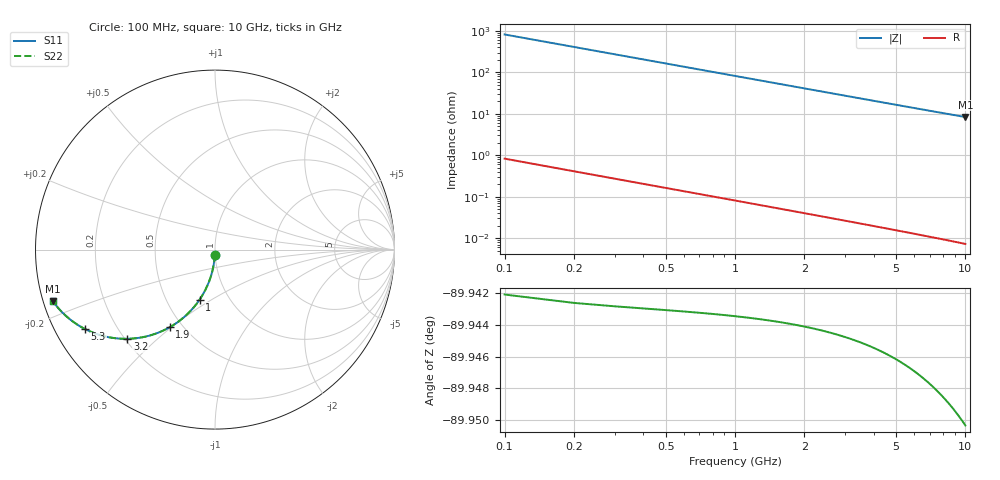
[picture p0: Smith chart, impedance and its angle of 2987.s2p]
# Hz S RI R 50.00
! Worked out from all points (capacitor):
!   100 points, 100 MHz to 10 GHz, reference 50 ohm
!   read as one part in shunt: C = 1.94 pF near 100 MHz
!   lowest |Z| = 8.35 ohm at 10 GHz (marker M1)
!   S11 on the Smith chart (normalised r, x): 100 MHz: 1.00, -0.06; 1 GHz: 0.73, -0.44; 1.9 GHz: 0.43, -0.49; 3.2 GHz: 0.21, -0.40; 5.3 GHz: 0.09, -0.28; 10 GHz: 0.03, -0.16
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1e8  -0.000917 -0.0304  0.999 -0.0306  0.999 -0.0306  -0.000917 -0.0304
2e8  -0.00373 -0.0607  0.9962 -0.061  0.9962 -0.061  -0.00373 -0.0607
3e8  -0.00837 -0.0906  0.9915 -0.0911  0.9915 -0.0911  -0.00837 -0.0906
4e8  -0.0148 -0.1201  0.9851 -0.1206  0.9851 -0.1206  -0.0148 -0.1201
5e8  -0.0229 -0.1488  0.977 -0.1496  0.977 -0.1496  -0.0229 -0.1488
6e8  -0.0326 -0.1768  0.9673 -0.1777  0.9673 -0.1777  -0.0326 -0.1768
7e8  -0.0439 -0.2039  0.9561 -0.2049  0.9561 -0.2049  -0.0439 -0.2039
8e8  -0.0565 -0.2299  0.9434 -0.231  0.9434 -0.231  -0.0565 -0.2299
1e9  -0.0855 -0.2785  0.9144 -0.2799  0.9144 -0.2799  -0.0855 -0.2785
1.2e9  -0.1186 -0.322  0.8813 -0.3237  0.8813 -0.3237  -0.1186 -0.322
1.4e9  -0.1548 -0.3602  0.8452 -0.3622  0.8452 -0.3622  -0.1548 -0.3602
1.8e9  -0.2322 -0.4205  0.7677 -0.4231  0.7677 -0.4231  -0.2322 -0.4205
1.9e9  -0.252 -0.4323  0.7479 -0.4351  0.7479 -0.4351  -0.252 -0.4323
2.5e9  -0.3683 -0.48  0.6316 -0.4836  0.6316 -0.4836  -0.3683 -0.48
3.2e9  -0.4884 -0.4971  0.5115 -0.5017  0.5115 -0.5017  -0.4884 -0.4971
3.4e9  -0.5186 -0.4967  0.4813 -0.5016  0.4813 -0.5016  -0.5186 -0.4967
4.2e9  -0.6217 -0.4814  0.3782 -0.4875  0.3782 -0.4875  -0.6217 -0.4814
5.1e9  -0.7078 -0.4505  0.2921 -0.4579  0.2921 -0.4579  -0.7078 -0.4505
5.3e9  -0.7234 -0.4429  0.2764 -0.4506  0.2764 -0.4506  -0.7234 -0.4429
6.7e9  -0.807 -0.3892  0.1929 -0.399  0.1929 -0.399  -0.807 -0.3892
8.4e9  -0.868 -0.3317  0.1318 -0.344  0.1318 -0.344  -0.868 -0.3317
1e10  -0.9032 -0.2877  0.0966 -0.3024  0.0966 -0.3024  -0.9032 -0.2877
